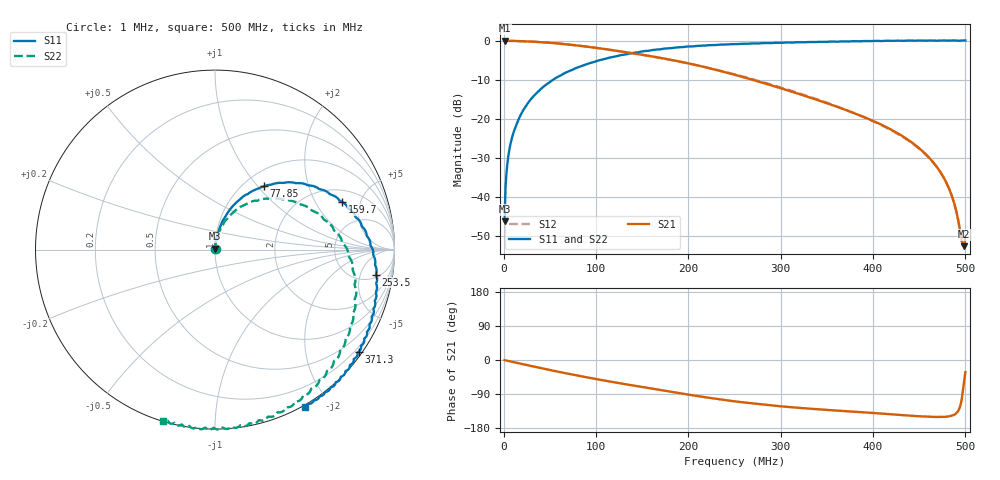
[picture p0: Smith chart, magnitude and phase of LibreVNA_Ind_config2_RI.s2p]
# GHZ RI RI R 50.000000000000
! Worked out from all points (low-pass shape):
!   501 points, 1 MHz to 500 MHz, reference 50 ohm
!   highest |S21| = 0.05 dB at 1 MHz (marker M1); lowest = -52.6 dB at 498 MHz (marker M2)
!   |S21| within 3 dB of the highest: start of sweep to 134 MHz
!   lowest |S11| = -46.2 dB at 1 MHz (marker M3), VSWR 1.01, Z = 50 + j0.489 ohm
!   |S11| at or under -10 dB: start of sweep to 53.26 MHz
!   |S22| runs from -44.4 to 0.0 dB; largest |S21 - S12| = 0.0095
!   S11 on the Smith chart (normalised r, x): 1 MHz: 1.00, +0.01; 77.85 MHz: 1.22, +1.08; 159.7 MHz: 2.76, +3.42; 253.5 MHz: 6, -9; 371.3 MHz: 0.10, -3.13; 500 MHz: -0.02, -1.73
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0.001  -0.000447 0.0049  1.005 -0.00688  1.002 -0.0143  0.00281 0.00534
0.003994  0.00167 0.0266  0.9999 -0.0348  0.9985 -0.0348  0.00232 0.0258
0.006988  0.00437 0.0454  0.9975 -0.0617  0.9964 -0.0619  0.00555 0.0451
0.018964  0.0237 0.1136  0.9753 -0.1735  0.9747 -0.1741  0.03 0.1126
0.042916  0.096 0.2392  0.8819 -0.3716  0.8832 -0.3711  0.1248 0.2269
0.077846  0.2714 0.3528  0.6701 -0.5643  0.6715 -0.5656  0.3442 0.2853
0.084832  0.3099 0.3614  0.6227 -0.5886  0.623 -0.5901  0.3878 0.2769
0.116768  0.4964 0.3668  0.4093 -0.6441  0.4072 -0.6458  0.5895 0.1895
0.159682  0.7091 0.2649  0.1637 -0.6133  0.1625 -0.6103  0.7555 -0.0542
0.167666  0.7388 0.2357  0.1241 -0.5986  0.1246 -0.5948  0.7676 -0.1056
0.21058  0.8613 0.0521  -0.0454 -0.4805  -0.0374 -0.4817  0.7694 -0.3912
0.2505  0.8994 -0.1265  -0.1204 -0.3463  -0.1153 -0.354  0.675 -0.6118
0.253494  0.8977 -0.1395  -0.1229 -0.3367  -0.1186 -0.3445  0.6623 -0.6237
0.334332  0.8538 -0.4494  -0.1155 -0.1427  -0.118 -0.1457  0.3615 -0.9068
0.371258  0.8003 -0.5686  -0.0917 -0.0912  -0.0929 -0.0909  0.202 -0.969
0.417166  0.7142 -0.7023  -0.0602 -0.0457  -0.0588 -0.0452  0.00857 -1.001
0.4501  0.6359 -0.7834  -0.0358 -0.022  -0.0346 -0.0226  -0.1204 -0.996
0.473054  0.5759 -0.8294  -0.018 -0.0103  -0.0175 -0.0109  -0.2007 -0.9801
0.486028  0.5405 -0.854  -0.00807 -0.00541  -0.00793 -0.00576  -0.2424 -0.9701
0.496008  0.5123 -0.8691  -0.000668 -0.00267  -0.000494 -0.00274  -0.2749 -0.9586
0.498004  0.5083 -0.8732  0.000919 -0.00216  0.00106 -0.00214  -0.2815 -0.9588
0.5  0.5029 -0.8765  0.00254 -0.00159  0.00259 -0.00155  -0.2869 -0.957
